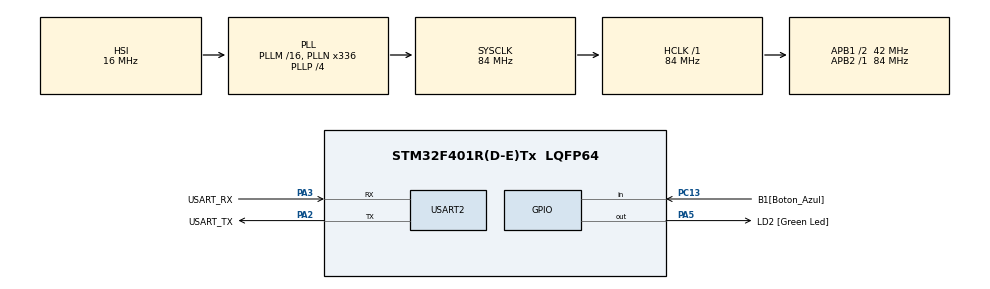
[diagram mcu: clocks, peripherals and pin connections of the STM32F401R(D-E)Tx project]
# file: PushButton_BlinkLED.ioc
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Mcu.Family=STM32F4
Mcu.Name=STM32F401R(D-E)Tx
Mcu.Package=LQFP64
NVIC.PriorityGroup=NVIC_PRIORITYGROUP_0
NVIC.TIM2_IRQn=true\:0\:0\:false\:false\:true\:true\:true\:true
PA13.GPIO_Label=TMS
PA13.Mode=Serial_Wire
PA13.Signal=SYS_JTMS-SWDIO
PA14.GPIO_Label=TCK
PA14.Mode=Serial_Wire
PA14.Signal=SYS_JTCK-SWCLK
PA2.GPIO_Label=USART_TX
PA2.GPIO_Mode=GPIO_MODE_AF_PP
PA2.GPIO_PuPd=GPIO_NOPULL
PA2.GPIO_Speed=GPIO_SPEED_FREQ_LOW
PA2.Mode=Asynchronous
PA2.Signal=USART2_TX
PA3.GPIO_Label=USART_RX
PA3.GPIO_Mode=GPIO_MODE_AF_PP
PA3.GPIO_PuPd=GPIO_NOPULL
PA3.GPIO_Speed=GPIO_SPEED_FREQ_LOW
PA3.Mode=Asynchronous
PA3.Signal=USART2_RX
PA5.GPIO_Label=LD2 [Green Led]
PA5.GPIO_Mode=GPIO_MODE_OUTPUT_PP
PA5.GPIO_PuPd=GPIO_NOPULL
PA5.GPIO_Speed=GPIO_SPEED_FREQ_LOW
PA5.Signal=GPIO_Output
PB3.GPIO_Label=SWO
PB3.Signal=SYS_JTDO-SWO
PC13-ANTI_TAMP.GPIO_Label=B1[Boton_Azul]
PC13-ANTI_TAMP.Signal=GPIO_Input
PC14-OSC32_IN.Mode=LSE-External-Oscillator
PC14-OSC32_IN.Signal=RCC_OSC32_IN
PC15-OSC32_OUT.Mode=LSE-External-Oscillator
PC15-OSC32_OUT.Signal=RCC_OSC32_OUT
PH0\ -\ OSC_IN.Mode=HSE-External-Clock-Source
PH0\ -\ OSC_IN.Signal=RCC_OSC_IN
PH1\ -\ OSC_OUT.Mode=HSE-External-Clock-Source
PH1\ -\ OSC_OUT.Signal=RCC_OSC_OUT
ProjectManager.HeapSize=0x200
ProjectManager.StackSize=0x400
ProjectManager.TargetToolchain=STM32CubeIDE
RCC.48MHZClocksFreq_Value=48000000
RCC.AHBFreq_Value=84000000
RCC.APB1CLKDivider=RCC_HCLK_DIV2
RCC.APB1Freq_Value=42000000
RCC.APB1TimFreq_Value=84000000
RCC.APB2Freq_Value=84000000
RCC.APB2TimFreq_Value=84000000
RCC.CortexFreq_Value=84000000
RCC.HCLKFreq_Value=84000000
RCC.HSE_VALUE=8000000
RCC.HSI_VALUE=16000000
RCC.PLLN=336
RCC.PLLP=RCC_PLLP_DIV4
RCC.PLLQ=7
RCC.SYSCLKFreq_VALUE=84000000
RCC.SYSCLKSource=RCC_SYSCLKSOURCE_PLLCLK
RCC.VCOOutputFreq_Value=336000000
TIM2.ClockDivision=TIM_CLOCKDIVISION_DIV1
TIM2.Period=200
TIM2.Prescaler=41999
USART2.VirtualMode=VM_ASYNC
VP_TIM2_VS_ClockSourceINT.Mode=Internal
board=NUCLEO-F401RE

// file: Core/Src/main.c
/* USER CODE BEGIN Header */
/**
  ******************************************************************************
  * @file           : main.c
  * @brief          : Main program body
  ******************************************************************************
  * @attention
  *
  * Copyright (c) 2022 STMicroelectronics.
  * All rights reserved.
  *
  * This software is licensed under terms that can be found in the LICENSE file
  * in the root directory of this software component.
  * If no LICENSE file comes with this software, it is provided AS-IS.
  *
  ******************************************************************************
  */
/* USER CODE END Header */
#include "main.h"

/* USER CODE BEGIN PD */
#define BASE_TIEMPO_MS 100

#define IDDLE 0
#define DEBOUNCING 2
#define CONT_DEBOUNCE 			100/BASE_TIEMPO_MS
#define PULSADO					0

#define WAITING 1
#define TOGGLE 2
#define CUENTA_MAX 				(10000)/BASE_TIEMPO_MS
#define UN_SEG 					(1000)/BASE_TIEMPO_MS
#define TRES_SEG 				(3000)/BASE_TIEMPO_MS
#define CINCO_SEG 				(5000)/BASE_TIEMPO_MS

#define NONE 0
#define DOS_HERTZ 1
#define MEDIO_HERTZ 2
#define DECI_HERTZ 3

#define CONT_250MS 				(250)/BASE_TIEMPO_MS
#define CONT_1S  				(1000)/BASE_TIEMPO_MS
#define CONT_5S					(5000)/BASE_TIEMPO_MS

/* USER CODE END PD */

 TIM_HandleTypeDef htim2;

UART_HandleTypeDef huart2;

/* USER CODE BEGIN PV */

unsigned char cuenta_led = 0;
unsigned char contador = 0;
unsigned char toggle = 0;
unsigned char tecla = 0;

/* USER CODE END PV */

void SystemClock_Config(void);
static void MX_GPIO_Init(void);
static void MX_USART2_UART_Init(void);
static void MX_TIM2_Init(void);
/* USER CODE BEGIN PFP */
void Control_Pulsador (void);
void HAL_TIM_PeriodElapsedCallback(TIM_HandleTypeDef*);
void Debounce (unsigned char);

/* USER CODE END PFP */

int main(void)
{

  /* MCU Configuration--------------------------------------------------------*/

  /* Reset of all peripherals, Initializes the Flash interface and the Systick. */
  HAL_Init();

  /* Configure the system clock */
  SystemClock_Config();

  /* Initialize all configured peripherals */
  MX_GPIO_Init();
  MX_USART2_UART_Init();
  MX_TIM2_Init();
  /* USER CODE BEGIN 2 */

  HAL_TIM_Base_Start_IT(&htim2);

  /* USER CODE END 2 */

  /* Infinite loop */
  /* USER CODE BEGIN WHILE */
  while (1)
  {

	  Control_Pulsador();

    /* USER CODE END WHILE */

  }
}

void SystemClock_Config(void)
{
  RCC_OscInitTypeDef RCC_OscInitStruct = {0};
  RCC_ClkInitTypeDef RCC_ClkInitStruct = {0};

  /** Configure the main internal regulator output voltage
  */
  __HAL_RCC_PWR_CLK_ENABLE();
  __HAL_PWR_VOLTAGESCALING_CONFIG(PWR_REGULATOR_VOLTAGE_SCALE2);

  /** Initializes the RCC Oscillators according to the specified parameters
  * in the RCC_OscInitTypeDef structure.
  */
  RCC_OscInitStruct.OscillatorType = RCC_OSCILLATORTYPE_HSI;
  RCC_OscInitStruct.HSIState = RCC_HSI_ON;
  RCC_OscInitStruct.HSICalibrationValue = RCC_HSICALIBRATION_DEFAULT;
  RCC_OscInitStruct.PLL.PLLState = RCC_PLL_ON;
  RCC_OscInitStruct.PLL.PLLSource = RCC_PLLSOURCE_HSI;
  RCC_OscInitStruct.PLL.PLLM = 16;
  RCC_OscInitStruct.PLL.PLLN = 336;
  RCC_OscInitStruct.PLL.PLLP = RCC_PLLP_DIV4;
  RCC_OscInitStruct.PLL.PLLQ = 7;
  if (HAL_RCC_OscConfig(&RCC_OscInitStruct) != HAL_OK)
  {
    Error_Handler();
  }

  /** Initializes the CPU, AHB and APB buses clocks
  */
  RCC_ClkInitStruct.ClockType = RCC_CLOCKTYPE_HCLK|RCC_CLOCKTYPE_SYSCLK
                              |RCC_CLOCKTYPE_PCLK1|RCC_CLOCKTYPE_PCLK2;
  RCC_ClkInitStruct.SYSCLKSource = RCC_SYSCLKSOURCE_PLLCLK;
  RCC_ClkInitStruct.AHBCLKDivider = RCC_SYSCLK_DIV1;
  RCC_ClkInitStruct.APB1CLKDivider = RCC_HCLK_DIV2;
  RCC_ClkInitStruct.APB2CLKDivider = RCC_HCLK_DIV1;

  if (HAL_RCC_ClockConfig(&RCC_ClkInitStruct, FLASH_LATENCY_2) != HAL_OK)
  {
    Error_Handler();
  }
}

static void MX_TIM2_Init(void)
{

  TIM_ClockConfigTypeDef sClockSourceConfig = {0};
  TIM_MasterConfigTypeDef sMasterConfig = {0};

  htim2.Instance = TIM2;
  htim2.Init.Prescaler = 41999;
  htim2.Init.CounterMode = TIM_COUNTERMODE_UP;
  htim2.Init.Period = 200;
  htim2.Init.ClockDivision = TIM_CLOCKDIVISION_DIV1;
  htim2.Init.AutoReloadPreload = TIM_AUTORELOAD_PRELOAD_DISABLE;
  if (HAL_TIM_Base_Init(&htim2) != HAL_OK)
  {
    Error_Handler();
  }
  sClockSourceConfig.ClockSource = TIM_CLOCKSOURCE_INTERNAL;
  if (HAL_TIM_ConfigClockSource(&htim2, &sClockSourceConfig) != HAL_OK)
  {
    Error_Handler();
  }
  sMasterConfig.MasterOutputTrigger = TIM_TRGO_RESET;
  sMasterConfig.MasterSlaveMode = TIM_MASTERSLAVEMODE_DISABLE;
  if (HAL_TIMEx_MasterConfigSynchronization(&htim2, &sMasterConfig) != HAL_OK)
  {
    Error_Handler();
  }

}

static void MX_USART2_UART_Init(void)
{

  huart2.Instance = USART2;
  huart2.Init.BaudRate = 115200;
  huart2.Init.WordLength = UART_WORDLENGTH_8B;
  huart2.Init.StopBits = UART_STOPBITS_1;
  huart2.Init.Parity = UART_PARITY_NONE;
  huart2.Init.Mode = UART_MODE_TX_RX;
  huart2.Init.HwFlowCtl = UART_HWCONTROL_NONE;
  huart2.Init.OverSampling = UART_OVERSAMPLING_16;
  if (HAL_UART_Init(&huart2) != HAL_OK)
  {
    Error_Handler();
  }

}

static void MX_GPIO_Init(void)
{
  GPIO_InitTypeDef GPIO_InitStruct = {0};

  /* GPIO Ports Clock Enable */
  __HAL_RCC_GPIOC_CLK_ENABLE();
  __HAL_RCC_GPIOH_CLK_ENABLE();
  __HAL_RCC_GPIOA_CLK_ENABLE();
  __HAL_RCC_GPIOB_CLK_ENABLE();

  /*Configure GPIO pin Output Level */
  HAL_GPIO_WritePin(LD2_GPIO_Port, LD2_Pin, GPIO_PIN_RESET);

  /*Configure GPIO pin : B1_Pin */
  GPIO_InitStruct.Pin = B1_Pin;
  GPIO_InitStruct.Mode = GPIO_MODE_INPUT;
  GPIO_InitStruct.Pull = GPIO_NOPULL;
  HAL_GPIO_Init(B1_GPIO_Port, &GPIO_InitStruct);

  /*Configure GPIO pin : LD2_Pin */
  GPIO_InitStruct.Pin = LD2_Pin;
  GPIO_InitStruct.Mode = GPIO_MODE_OUTPUT_PP;
  GPIO_InitStruct.Pull = GPIO_NOPULL;
  GPIO_InitStruct.Speed = GPIO_SPEED_FREQ_LOW;
  HAL_GPIO_Init(LD2_GPIO_Port, &GPIO_InitStruct);

}

/* USER CODE BEGIN 4 */
void Control_Pulsador (void)
{
	static unsigned char estado = IDDLE;

	static unsigned char elapsed_time = 0;

	switch(estado)
	{
		case IDDLE:
			if(tecla == PULSADO)
			{
				contador = CUENTA_MAX;//tiempo de 1s para mantener el boton presionado
				estado = WAITING;
			}
			break;
		case WAITING:
			if(tecla !=PULSADO)
			{
				elapsed_time = CUENTA_MAX - contador;
				estado = TOGGLE;
			}
			if(tecla == PULSADO)
			{
				estado = WAITING;
			}
			break;
		case TOGGLE:
			if(elapsed_time < UN_SEG)
				toggle = DOS_HERTZ;
			else if (elapsed_time>= UN_SEG && elapsed_time<TRES_SEG)
				toggle = MEDIO_HERTZ;
			else if(elapsed_time>CINCO_SEG)
				toggle = DECI_HERTZ;
			estado = IDDLE;
			break;
		default:
			estado = IDDLE;
			toggle = NONE;
			elapsed_time=0;
			contador = 0;

	}
}

void Debounce (unsigned char tecla_presionada)
{
	static unsigned char estado = IDDLE;
	static unsigned char tecla_anterior = 0;
	static unsigned char debounce = 0;

	switch(estado)
	{
		case IDDLE:

			if(tecla_presionada!=tecla_anterior)
			{
				debounce = CONT_DEBOUNCE;
				tecla_anterior = tecla_presionada;
				estado = DEBOUNCING;
			}

			break;
		case DEBOUNCING:

			if(debounce == 0)
			{
				if(tecla_presionada == tecla_anterior)
				{
					tecla = tecla_presionada;

				}
				estado = IDDLE;
			}

			if(debounce>0)
			{
				debounce--;
				estado = DEBOUNCING;
			}

			break;
	}
}

void HAL_TIM_PeriodElapsedCallback(TIM_HandleTypeDef *htim)
{
	Debounce(HAL_GPIO_ReadPin(B1_GPIO_Port,B1_Pin));
	if(contador > 0)
		contador--;
	if(cuenta_led > 0)
		cuenta_led--;
	else if(cuenta_led == 0  && toggle!= NONE)
	{
		if(toggle == DOS_HERTZ) cuenta_led = CONT_250MS;
		if(toggle == MEDIO_HERTZ) cuenta_led = CONT_1S;
		if(toggle == DECI_HERTZ) cuenta_led = CONT_5S;
		HAL_GPIO_TogglePin(LD2_GPIO_Port, LD2_Pin);
	}
}

/* USER CODE END 4 */

void Error_Handler(void)
{
  __disable_irq();
  while (1)
  {
  }
}
